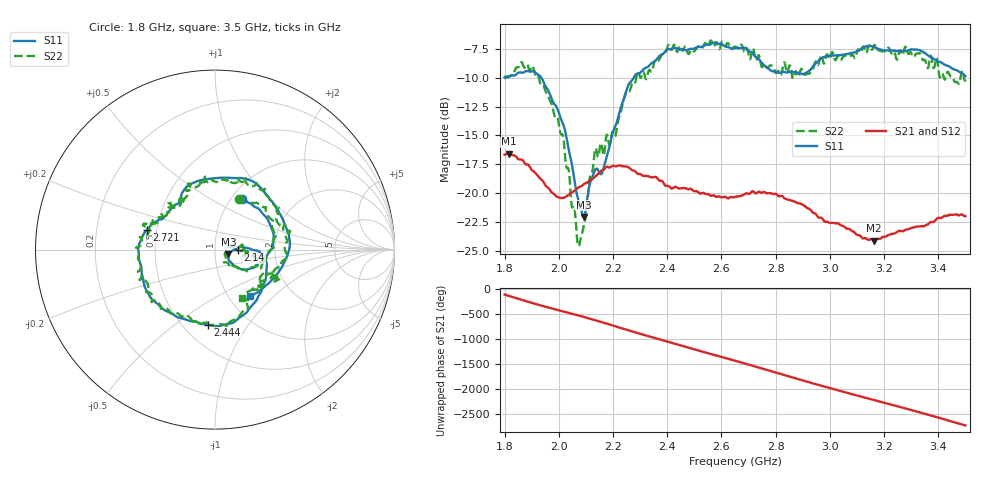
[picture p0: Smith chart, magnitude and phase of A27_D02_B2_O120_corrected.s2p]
! Created with skrf 1.9.0 (http://scikit-rf.org).
# Hz S RI R 50.0
!freq ReS11 ImS11 ReS21 ImS21 ReS12 ImS12 ReS22 ImS22
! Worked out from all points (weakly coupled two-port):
!   1601 points, 1.8 GHz to 3.5 GHz, reference 50 ohm
!   highest |S21| = -16.60 dB at 1.816 GHz (marker M1); lowest = -24.1 dB at 3.163 GHz (marker M2)
!   lowest |S11| = -22.1 dB at 2.091 GHz (marker M3), VSWR 1.17, Z = 58 - j2.82 ohm
!   |S11| at or under -10 dB: 1.936 GHz to 2.276 GHz (340.6 MHz wide, 16.2 % of centre)
!   |S22| runs from -24.6 to -6.8 dB; largest |S21 - S12| = 0.0025
!   S11 on the Smith chart (normalised r, x): 1.8 GHz: 1.12, +0.70; 2.14 GHz: 1.29, -0.01; 2.444 GHz: 0.66, -0.67; 2.721 GHz: 0.44, +0.11; 3.5 GHz: 1.26, -0.72
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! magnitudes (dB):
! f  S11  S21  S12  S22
! 1.8 GHz  -9.9  -16.7  -16.7  -10.0
! 1.816 GHz  -9.9  -16.6  -16.6  -9.9
! 1.902 GHz  -9.4  -18.0  -18.0  -9.0
! 1.966 GHz  -11.4  -19.7  -19.8  -11.9
! 2.02 GHz  -14.3  -20.4  -20.4  -15.9
! 2.07 GHz  -20.4  -19.6  -19.6  -24.5
! 2.084 GHz  -21.6  -19.4  -19.3  -23.6
! 2.091 GHz  -22.1  -19.2  -19.3  -22.9
! 2.14 GHz  -17.9  -18.5  -18.4  -16.4
! 2.163 GHz  -18.0  -18.0  -17.9  -16.6
! 2.209 GHz  -14.2  -17.7  -17.6  -15.0
! 2.26 GHz  -10.5  -17.8  -17.8  -11.2
! 2.367 GHz  -8.2  -18.8  -18.8  -8.5
! 2.444 GHz  -7.5  -19.6  -19.6  -7.3
! 2.65 GHz  -7.4  -20.3  -20.3  -7.3
! 2.721 GHz  -8.1  -19.9  -19.9  -7.8
! 2.808 GHz  -9.6  -20.2  -20.2  -9.4
! 2.934 GHz  -9.2  -21.6  -21.6  -9.5
! 3.163 GHz  -7.3  -24.1  -24.1  -7.2
! 3.217 GHz  -7.6  -23.6  -23.6  -7.4
! 3.328 GHz  -7.6  -22.9  -22.9  -7.9
! 3.5 GHz  -9.9  -22.0  -22.0  -10.2
